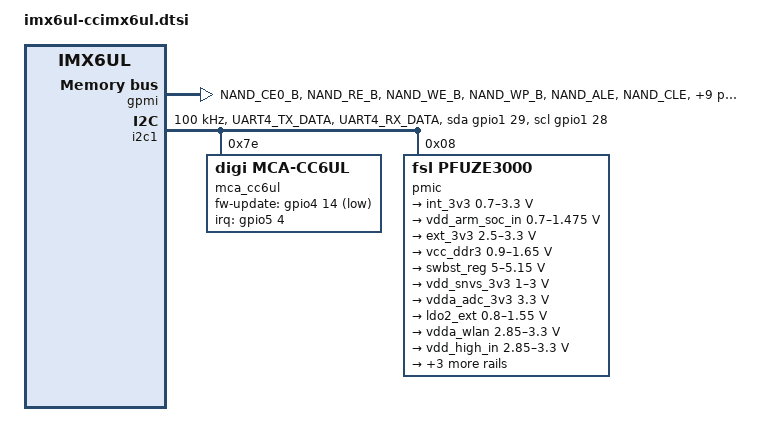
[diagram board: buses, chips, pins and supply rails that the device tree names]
/*
 * Copyright 2016 Digi International, Inc.
 *
 * The code contained herein is licensed under the GNU General Public
 * License. You may obtain a copy of the GNU General Public License
 * Version 2 or later at the following locations:
 *
 * http://www.opensource.org/licenses/gpl-license.html
 * http://www.gnu.org/copyleft/gpl.html
 */

/ {
	memory: memory {
		/* U-boot to fill memory details here */
	};

	reserved-memory {
		#address-cells = <1>;
		#size-cells = <1>;
		ranges;

		linux,cma {
			compatible = "shared-dma-pool";
			reusable;
			size = <0x4000000>;
			linux,cma-default;
		};
	};

	caam_keyblob: caam-keyblob {
		compatible = "fsl,sec-v4.0-keyblob";
	};
};

&adc1 {
	vref-supply = <&vdda_adc_3v3>;
	max-channel = <9>;
	status = "disabled";
};

&cpu0 {
	/*
	 * on i.MX6UL, VDD_ARM_IN and VDD_SOC_IN are the same, yet
	 * to align with other platform sand use the same cpufreq
	 * driver, we must still use separated OPP define for ARM and SOC.
	 */
	operating-points = <
		/* kHz	uV */
		528000	1175000
		396000	1175000
		198000	1175000
	>;
	fsl,soc-operating-points = <
		/* KHz	uV */
		528000	1175000
		396000	1175000
		198000	1175000
	>;
	fsl,arm-soc-shared = <1>;
	clock-frequency = <528000000>;
};

&gpc {
	fsl,ldo-bypass = <1>;
};

&gpmi {
	pinctrl-names = "default";
	pinctrl-0 = <&pinctrl_gpmi_nand>;
	status = "okay";
};

&i2c1 {
	clock-frequency = <100000>;
	pinctrl-names = "default", "gpio";
	pinctrl-0 = <&pinctrl_i2c1>;
	pinctrl-1 = <&pinctrl_i2c1_gpio>;
	scl-gpios = <&gpio1 28 GPIO_ACTIVE_HIGH>;
	sda-gpios = <&gpio1 29 GPIO_ACTIVE_HIGH>;
	digi,atecc508a-workaround;
	digi,atecc508a-sleep-delay-uS = <1000>;
	status = "okay";

	mca_cc6ul: mca@7e {
		compatible = "digi,mca-cc6ul";
		reg = <0x7e>;
		interrupt-parent = <&gpio5>;
		interrupts = <4 IRQ_TYPE_EDGE_FALLING>;
		interrupt-controller;
		#interrupt-cells = <2>;
		fw-update-gpio = <&gpio4 14 GPIO_ACTIVE_LOW>;
		pinctrl-names = "default";
		pinctrl-0 = <&pinctrl_mca_cc6ul>;

		mca_gpio: gpio {
			compatible = "digi,mca-cc6ul-gpio";
			gpio-controller;
			#gpio-cells = <2>;

			interrupt-parent = <&mca_cc6ul>;
			interrupt-controller;
			#interrupt-cells = <2>;

			/* Disable all mca GPIOs as power off wake up sources */
			pwroff-wakeup-capable-ios = <>;
		};

		rtc {
			compatible = "digi,mca-cc6ul-rtc";
		};

		watchdog {
			compatible = "digi,mca-cc6ul-wdt";
			digi,full-reset;
		};

		pwrkey {
			compatible = "digi,mca-cc6ul-pwrkey";
			digi,key-power;
			digi,key-power-up;
			digi,key-sleep;
			digi,debounce-ms = <100>;
			digi,pwroff-delay-sec = <6>;
			digi,pwroff-guard-sec = <30>;
		};

		mca_adc: adc {
			compatible = "digi,mca-cc6ul-adc";
			digi,adc-vref = <3000000>;
		};

		mca_tamper: tamper {
			compatible = "digi,mca-cc6ul-tamper";
		};

		mca_uart: uart {
			compatible = "digi,mca-cc6ul-uart";
			status = "disabled";
		};
	};

	pmic: pfuze3000@08 {
		compatible = "fsl,pfuze3000";
		reg = <0x08>;
		fsl,nvram;

		regulators {
			int_3v3: sw1a {
				regulator-min-microvolt = <700000>;
				regulator-max-microvolt = <3300000>;
				regulator-ramp-delay = <6250>;
				regulator-boot-on;
				regulator-always-on;
				regulator-state-mem {
					regulator-off-in-suspend;
				};
			};

			vdd_arm_soc_in: sw1b {
				regulator-min-microvolt = <700000>;
				regulator-max-microvolt = <1475000>;
				regulator-ramp-delay = <6250>;
				regulator-boot-on;
				regulator-always-on;
				regulator-state-mem {
					regulator-on-in-suspend;
					regulator-suspend-microvolt = <925000>;
				};
			};

			ext_3v3: sw2 {
				regulator-min-microvolt = <2500000>;
				regulator-max-microvolt = <3300000>;
				regulator-ramp-delay = <6250>;
				regulator-always-on;
				regulator-boot-on;
				regulator-state-mem {
					regulator-off-in-suspend;
				};
			};

			vcc_ddr3: sw3 {
				regulator-min-microvolt = <900000>;
				regulator-max-microvolt = <1650000>;
				regulator-always-on;
				regulator-boot-on;
				regulator-state-mem {
					regulator-on-in-suspend;
					regulator-suspend-microvolt = <1300000>;
				};
			};

			swbst_reg: swbst {
				regulator-min-microvolt = <5000000>;
				regulator-max-microvolt = <5150000>;
			};

			vdd_snvs_3v3: vsnvs {
				regulator-min-microvolt = <1000000>;
				regulator-max-microvolt = <3000000>;
				regulator-boot-on;
				regulator-always-on;
			};

			vrefddr: vrefddr {
				regulator-boot-on;
				regulator-always-on;
			};

			vdda_adc_3v3: vldo1 {
				compatible = "regulator-fixed";
				regulator-name = "vref-adc-3v3";
				regulator-min-microvolt = <3300000>;
				regulator-max-microvolt = <3300000>;
				regulator-always-on;
				regulator-state-mem {
					regulator-off-in-suspend;
				};
			};

			ldo2_ext: vldo2 {
				regulator-min-microvolt = <800000>;
				regulator-max-microvolt = <1550000>;
			};

			vdda_wlan: vccsd {
				regulator-min-microvolt = <2850000>;
				regulator-max-microvolt = <3300000>;
				regulator-always-on;
				regulator-boot-on;
				regulator-state-mem {
					regulator-off-in-suspend;
				};
			};

			vdd_high_in: v33 {
				regulator-min-microvolt = <2850000>;
				regulator-max-microvolt = <3300000>;
				regulator-boot-on;
				regulator-always-on;
			};

			ldo3_int: vldo3 {
				regulator-min-microvolt = <1800000>;
				regulator-max-microvolt = <3300000>;
			};

			ldo4_ext: vldo4 {
				regulator-min-microvolt = <1800000>;
				regulator-max-microvolt = <3300000>;
			};

			vcoin_chg: vcoin {
				regulator-min-microvolt = <2500000>;
				regulator-max-microvolt = <3300000>;
			};
		};
	};
};

&iomuxc {
	imx6ul-ccimx6ul {
		pinctrl_gpmi_nand: gpmigrp {
			fsl,pins = <
				MX6UL_PAD_NAND_CE0_B__RAWNAND_CE0_B	0xb0b1
				MX6UL_PAD_NAND_RE_B__RAWNAND_RE_B	0xb0b1
				MX6UL_PAD_NAND_WE_B__RAWNAND_WE_B	0xb0b1
				MX6UL_PAD_NAND_WP_B__RAWNAND_WP_B	0xb0b1
				MX6UL_PAD_NAND_ALE__RAWNAND_ALE		0xb0b1
				MX6UL_PAD_NAND_CLE__RAWNAND_CLE		0xb0b1
				MX6UL_PAD_NAND_DATA00__RAWNAND_DATA00	0xb0b1
				MX6UL_PAD_NAND_DATA01__RAWNAND_DATA01	0xb0b1
				MX6UL_PAD_NAND_DATA02__RAWNAND_DATA02	0xb0b1
				MX6UL_PAD_NAND_DATA03__RAWNAND_DATA03	0xb0b1
				MX6UL_PAD_NAND_DATA04__RAWNAND_DATA04	0xb0b1
				MX6UL_PAD_NAND_DATA05__RAWNAND_DATA05	0xb0b1
				MX6UL_PAD_NAND_DATA06__RAWNAND_DATA06	0xb0b1
				MX6UL_PAD_NAND_DATA07__RAWNAND_DATA07	0xb0b1
				MX6UL_PAD_NAND_READY_B__RAWNAND_READY_B	0xb0b1
			>;
		};

		pinctrl_i2c1: i2c1grp {
			fsl,pins = <
				MX6UL_PAD_UART4_TX_DATA__I2C1_SCL 0x4001b8b0
				MX6UL_PAD_UART4_RX_DATA__I2C1_SDA 0x4001b8b0
			>;
		};

		pinctrl_i2c1_gpio: i2c1gpiogrp {
			fsl,pins = <
				MX6UL_PAD_UART4_TX_DATA__GPIO1_IO28 0x1b0b0
				MX6UL_PAD_UART4_RX_DATA__GPIO1_IO29 0x1b0b0
			>;
		};

		pinctrl_mca_cc6ul: mcagrp {
			fsl,pins = <
				/* MCA_nINT */
				MX6UL_PAD_SNVS_TAMPER4__GPIO5_IO04	0xb0b1
				/* MCA_FW_UPDATE */
				MX6UL_PAD_NAND_CE1_B__GPIO4_IO14	0x30
			>;
		};
	};
};

&reg_arm {
	vin-supply = <&vdd_arm_soc_in>;
	regulator-allow-bypass;
};

&reg_soc {
	vin-supply = <&vdd_arm_soc_in>;
	regulator-allow-bypass;
};

&snvs_poweroff  {
	/*
	 * On the CC6UL the power off support is implemented in the MCA.
	 * That is why the i.MX6UL power off functionality has to be disabled.
	 */
	status = "disabled";
};

&snvs_rtc  {
	/*
	 * On the CC6UL the RTC is implemented in the MCA. Therefore we disable
	 * the internal one.
	 */
	status = "disabled";
};

&snvs_pwrkey  {
	/*
	 * On the CC6UL the powerkey is implemented in the MCA. Therefore we disable
	 * the i.MX6UL builtin support.
	 */
	status = "disabled";
};

/* Disable the CPU watchdog. We use the MCA watchdog */
&wdog1 {
	status = "disabled";
};
